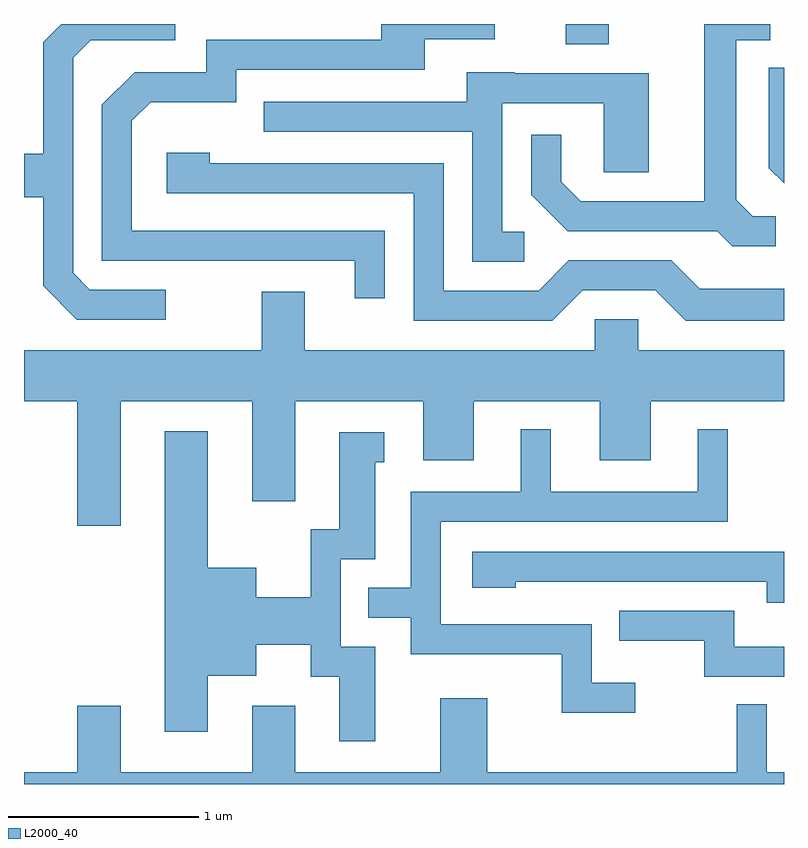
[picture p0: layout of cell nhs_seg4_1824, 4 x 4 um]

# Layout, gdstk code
import gdstk
lib = gdstk.Library(unit=1e-6, precision=1e-09)
def R(c, l, rs):  # rectangles x0, y0, x1, y1
    for r in rs: c.add(gdstk.rectangle(r[:2], r[2:], *l))
def P(c, l, *ps):  # polygons
    for p in ps: c.add(gdstk.Polygon(p, *l))
L2000_40 = (2000, 40)

nhs_seg4_1824 = lib.new_cell('nhs_seg4_1824')
R(nhs_seg4_1824, L2000_40, [(240.461,1369.876,240.689,1369.982)])
P(nhs_seg4_1824, L2000_40, [(241.568,1368.969),(241.447,1368.969),(241.359,1369.057),(241.359,1369.896),(241.538,1369.896),(241.538,1369.982),(241.191,1369.982),(241.191,1369.049),(240.542,1369.049),(240.439,1369.152),(240.439,1369.398),(240.281,1369.398),(240.281,1369.084),(240.474,1368.891),(241.259,1368.891),(241.339,1368.811),(241.568,1368.811)],
  [(238.358,1368.584),(237.957,1368.584),(237.869,1368.672),(237.869,1369.804),(237.962,1369.896),(238.408,1369.896),(238.408,1369.982),(237.807,1369.982),(237.711,1369.887),(237.711,1369.299),(237.611,1369.299),(237.611,1369.071),(237.711,1369.071),(237.711,1368.604),(237.889,1368.426),(238.358,1368.426)],
  [(239.509,1368.894),(238.179,1368.894),(238.179,1369.474),(238.277,1369.571),(238.729,1369.571),(238.729,1369.741),(239.719,1369.741),(239.719,1369.901),(240.088,1369.901),(240.088,1369.982),(239.491,1369.982),(239.491,1369.899),(238.571,1369.899),(238.571,1369.729),(238.194,1369.729),(238.021,1369.557),(238.021,1368.736),(239.351,1368.736),(239.351,1368.538),(239.509,1368.538)],
  [(241.611,1369.753),(241.531,1369.753),(241.531,1369.224),(241.611,1369.144)],
  [(240.243,1368.889),(240.129,1368.889),(240.129,1369.566),(240.661,1369.566),(240.661,1369.201),(240.899,1369.201),(240.899,1369.724),(240.195,1369.724),(240.195,1369.729),(239.941,1369.729),(239.941,1369.574),(238.873,1369.574),(238.873,1369.416),(239.971,1369.416),(239.971,1368.731),(240.243,1368.731)],
  [(240.552,1368.581),(240.934,1368.581),(241.094,1368.421),(241.611,1368.421),(241.611,1368.589),(241.167,1368.589),(241.017,1368.739),(240.479,1368.739),(240.319,1368.579),(239.819,1368.579),(239.819,1369.249),(238.589,1369.249),(238.589,1369.304),(238.361,1369.304),(238.361,1369.091),(239.661,1369.091),(239.661,1368.421),(240.392,1368.421)],
  [(238.119,1367.996),(238.811,1367.996),(238.811,1367.471),(239.039,1367.471),(239.039,1367.996),(239.711,1367.996),(239.711,1367.686),(239.979,1367.686),(239.979,1367.996),(240.641,1367.996),(240.641,1367.686),(240.909,1367.686),(240.909,1367.996),(241.611,1367.996),(241.611,1368.264),(240.844,1368.264),(240.844,1368.429),(240.616,1368.429),(240.616,1368.264),(239.089,1368.264),(239.089,1368.574),(238.861,1368.574),(238.861,1368.264),(237.611,1368.264),(237.611,1367.996),(237.891,1367.996),(237.891,1367.341),(238.119,1367.341)],
  [(240.828,1366.514),(240.599,1366.514),(240.599,1366.824),(239.804,1366.824),(239.804,1367.361),(241.314,1367.361),(241.314,1367.848),(241.156,1367.848),(241.156,1367.519),(240.384,1367.519),(240.384,1367.848),(240.226,1367.848),(240.226,1367.519),(239.646,1367.519),(239.646,1367.014),(239.423,1367.014),(239.423,1366.856),(239.646,1366.856),(239.646,1366.666),(240.441,1366.666),(240.441,1366.356),(240.828,1366.356)],
  [(239.459,1366.704),(239.279,1366.704),(239.279,1367.166),(239.459,1367.166),(239.459,1367.676),(239.508,1367.676),(239.508,1367.834),(239.271,1367.834),(239.271,1367.324),(239.121,1367.324),(239.121,1366.964),(238.834,1366.964),(238.834,1367.119),(238.579,1367.119),(238.579,1367.839),(238.351,1367.839),(238.351,1366.256),(238.579,1366.256),(238.579,1366.551),(238.834,1366.551),(238.834,1366.716),(239.121,1366.716),(239.121,1366.546),(239.271,1366.546),(239.271,1366.206),(239.459,1366.206)],
  [(241.611,1367.204),(239.971,1367.204),(239.971,1367.016),(240.199,1367.016),(240.199,1367.046),(241.521,1367.046),(241.521,1366.936),(241.611,1366.936)],
  [(241.611,1366.704),(241.349,1366.704),(241.349,1366.894),(240.743,1366.894),(240.743,1366.736),(241.191,1366.736),(241.191,1366.546),(241.611,1366.546)],
  [(241.611,1366.044),(241.519,1366.044),(241.519,1366.403),(241.361,1366.403),(241.361,1366.044),(240.049,1366.044),(240.049,1366.434),(239.801,1366.434),(239.801,1366.044),(239.039,1366.044),(239.039,1366.394),(238.811,1366.394),(238.811,1366.044),(238.119,1366.044),(238.119,1366.394),(237.891,1366.394),(237.891,1366.044),(237.611,1366.044),(237.611,1365.982),(241.611,1365.982)])

lib.write_gds('nhs_seg4_1824.gds')
